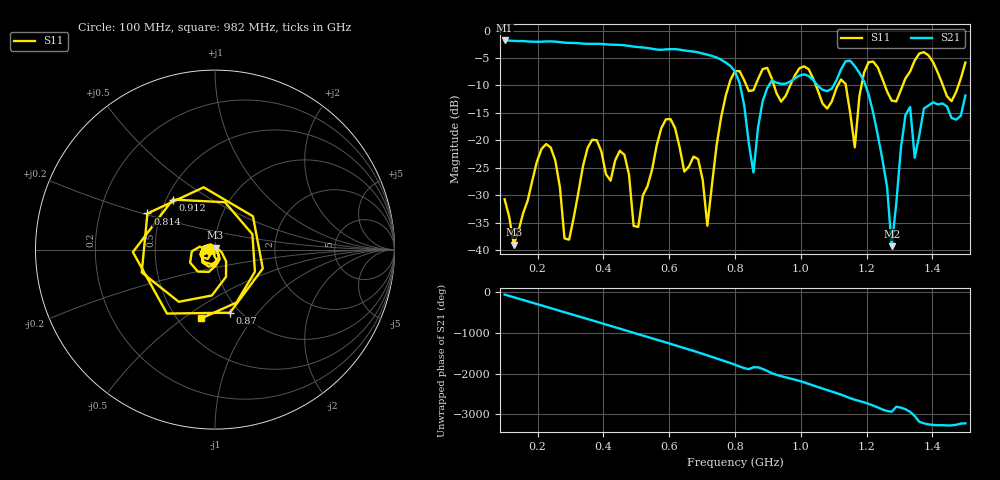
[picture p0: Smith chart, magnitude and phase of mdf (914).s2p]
! NanoVNA-App
! Date: 2025-09-25 15:45:32
! Start: 100MHz Stop: 1,5GHz Points: 101
! S-Parameter data: F S11 S21 S12 S22
# Hz S RI R 50
!  Frequency  S11_Real  S11_Imag  S21_Real  S21_Imag  S12_Real  S12_Imag  S22_Real  S22_Imag
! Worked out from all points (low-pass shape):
!   101 points, 100 MHz to 1.5 GHz, reference 50 ohm
!   highest |S21| = -1.80 dB at 100 MHz (marker M1); lowest = -39.3 dB at 1.276 GHz (marker M2)
!   |S21| within 3 dB of the highest: start of sweep to 739.4 MHz
!   lowest |S11| = -39.0 dB at 128 MHz (marker M3), VSWR 1.02, Z = 50.3 + j1.08 ohm
!   |S11| at or under -10 dB: start of sweep to 781.1 MHz; 1.046 GHz to 1.112 GHz (66.72 MHz wide, 6.18 % of centre); 1.255 GHz to 1.309 GHz (54.16 MHz wide, 4.22 % of centre) (the widest 3 of 7)
!   S12 and S22 are empty: the file has one direction only
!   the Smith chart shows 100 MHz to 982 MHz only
!   S11 on the Smith chart (normalised r, x): 100 MHz: 0.94, -0.01; 814 MHz: 0.42, +0.21; 870 MHz: 0.90, -0.73; 912 MHz: 0.54, +0.35; 982 MHz: 0.65, -0.59
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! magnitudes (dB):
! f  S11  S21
! 100 MHz  -30.7  -1.8
! 128 MHz  -39.0  -1.9
! 212 MHz  -21.6  -2.0
! 282 MHz  -37.9  -2.2
! 338 MHz  -24.7  -2.4
! 464 MHz  -22.6  -2.7
! 506 MHz  -35.8  -3.0
! 576 MHz  -17.8  -3.5
! 716 MHz  -35.6  -4.4
! 800 MHz  -7.4  -7.4
! 814 MHz  -7.4  -9.5
! 856 MHz  -10.9  -25.8
! 870 MHz  -8.8  -17.6
! 912 MHz  -8.8  -9.1
! 982 MHz  -8.2  -8.7
! 1.038 GHz  -8.8  -9.0
! 1.136 GHz  -9.7  -5.6
! 1.164 GHz  -21.3  -6.5
! 1.192 GHz  -7.6  -9.2
! 1.276 GHz  -12.8  -39.3
! 1.318 GHz  -8.7  -15.4
! 1.5 GHz  -5.8  -11.8
